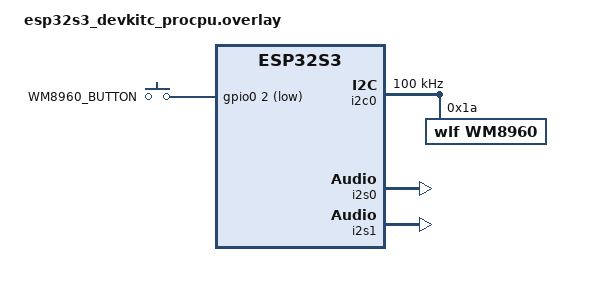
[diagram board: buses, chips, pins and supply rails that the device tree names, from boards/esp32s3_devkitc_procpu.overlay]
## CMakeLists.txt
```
cmake_minimum_required(VERSION 3.20.0)

find_package(Zephyr)
project(my_zephyr_app)

target_include_directories(app PRIVATE include)

target_sources(app PRIVATE 
                src/main.c
                src/wm8960.c
                src/audio.c
                src/network.c)
```

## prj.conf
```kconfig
# logging
CONFIG_LOG=y
CONFIG_LOG_DEFAULT_LEVEL=3
CONFIG_PRINTK=y

# drivers
CONFIG_I2C=y
CONFIG_I2S=y
CONFIG_DMA=y
CONFIG_GPIO=y

# Wi-Fi Configuration
CONFIG_WIFI=y

# Network Configuration
CONFIG_NET_CONFIG_AUTO_INIT=n
CONFIG_NET_CONNECTION_MANAGER=y
CONFIG_NET_DHCPV4=y
CONFIG_NET_DHCPV4_SERVER=y
CONFIG_NET_IF_MAX_IPV4_COUNT=2
CONFIG_NET_IF_MAX_IPV6_COUNT=2
CONFIG_NET_IPV4=y
CONFIG_NET_L2_ETHERNET=y
CONFIG_NET_L2_WIFI_MGMT=y
CONFIG_NET_MGMT=y
CONFIG_NET_MGMT_EVENT=y
CONFIG_NET_MGMT_EVENT_INFO=y
CONFIG_NET_MGMT_EVENT_QUEUE_SIZE=10
CONFIG_NET_MGMT_EVENT_STACK_SIZE=4096
CONFIG_NET_PKT_RX_COUNT=16
CONFIG_NET_PKT_TX_COUNT=16
CONFIG_NET_SOCKETS_SERVICE_STACK_SIZE=4096
CONFIG_NET_TCP=y
CONFIG_NET_UDP=y
CONFIG_NETWORKING=y

# LOG Configuration
CONFIG_NET_LOG=y
CONFIG_NET_DHCPV4_SERVER_LOG_LEVEL_DBG=y
```

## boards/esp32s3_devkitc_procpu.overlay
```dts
#include <dt-bindings/pinctrl/esp32s3-pinctrl.h>

&pinctrl {
    i2c0_audio: i2c0_audio {
        group1 {
            pinmux = <I2C0_SDA_GPIO41>,
                     <I2C0_SCL_GPIO40>;
            bias-pull-up;
            drive-open-drain;
            output-high;
        };
    };

    /* I2S0 = TX + clocks */
    i2s0_audio: i2s0_audio {
        group1 {
            pinmux = <I2S0_MCLK_GPIO42>,
                     <I2S0_O_WS_GPIO36>,
                     <I2S0_O_BCK_GPIO37>,
                     <I2S0_O_SD_GPIO38>;
        };
    };

    /* I2S1 = RX (share WS/BCK wires, but as INPUTS) */
    i2s1_audio: i2s1_audio {
        group1 {
            /* These macros must exist in esp32s3-pinctrl.h */
            pinmux = <I2S1_I_WS_GPIO36>,
                     <I2S1_I_BCK_GPIO37>,
                     <I2S1_I_SD_GPIO39>;
        };
    };
};

/ {
    aliases {
        audio0  = &wm8960;

        /* Add these so your C code can do DT_ALIAS(i2s-tx) / DT_ALIAS(i2s-rx) */
        i2s-tx = &i2s0;
        i2s-rx = &i2s1;
    };

    buttons {
        compatible = "gpio-keys";
        user_button: user_button {
            gpios = <&gpio0 2 (GPIO_PULL_UP | GPIO_ACTIVE_LOW)>;
            label = "WM8960_BUTTON";
        };
    };
};

&i2c0 {
    status = "okay";
    clock-frequency = <I2C_BITRATE_STANDARD>;
    pinctrl-0 = <&i2c0_audio>;
    pinctrl-names = "default";

    wm8960: wm8960@1a {
        compatible = "wlf,wm8960";
        reg = <0x1a>;
        label = "WM8960";
        status = "okay";
    };
};

/* TX controller */
&i2s0 {
    status = "okay";
    pinctrl-0 = <&i2s0_audio>;
    pinctrl-names = "default";
};

/* RX controller */
&i2s1 {
    status = "okay";
    pinctrl-0 = <&i2s1_audio>;
    pinctrl-names = "default";
};

/* Turn on GDMA (for I2S DMA) */
&dma {
    status = "okay";
};
```

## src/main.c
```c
#include <zephyr/kernel.h>
#include <zephyr/device.h>
#include <zephyr/drivers/i2c.h>
#include <zephyr/drivers/i2s.h>
#include <zephyr/sys/printk.h>

#include <audio.h>
#include <wm8960.h>
#include <network.h>

#define WM8960_NODE DT_ALIAS(audio0)
#define I2S_TX_NODE DT_ALIAS(i2s_tx)
#define I2S_RX_NODE DT_ALIAS(i2s_rx)

static const struct i2c_dt_spec codec_i2c = I2C_DT_SPEC_GET(WM8960_NODE);
static const struct device *i2s_tx = DEVICE_DT_GET(I2S_TX_NODE);
static const struct device *i2s_rx = DEVICE_DT_GET(I2S_RX_NODE);

int main(void)
{
    int ret;

    if (!device_is_ready(codec_i2c.bus)) {
        printk("I2C bus not ready\n");
        return -1;
    }
    if (!device_is_ready(i2s_tx) || !device_is_ready(i2s_rx)) {
        printk("I2S tx/rx not ready\n");
        return -1;
    }

    wifi_init();

    ret = wifi_connect();
    if (ret) {
        printk("WiFi connect failed: %d\n", ret);
        return ret;
    }

    ret = udp_init();
    if (ret) {
        printk("UDP init failed: %d\n", ret);
        return ret;
    }

    ret = wm8960_init(&codec_i2c);
    if (ret) {
        printk("wm8960_init failed: %d\n", ret);
        return ret;
    }

    /* Pick your initial output here */
    ret = wm8960_enable_speakers(&codec_i2c);
    if (ret) {
        printk("enable speakers failed: %d\n", ret);
        return ret;
    }

    ret = wm8960_enable_microphones(&codec_i2c,
                    2,      /* micboost: 0..3 */
                    40,     /* pga_vol: 0..63 */
                    195);   /* adc_dvol: 0..255, 195 ≈ 0 dB */

    if (ret) {
        printk("enable microphones failed: %d\n", ret);
        return ret;
    }
    
    struct i2s_config i2s_cfg = {
        .word_size = SAMPLE_BIT_WIDTH,
        .channels = NUMBER_OF_CHANNELS,
        .format = I2S_FMT_DATA_FORMAT_I2S | I2S_FMT_BIT_CLK_INV,
        .options = I2S_OPT_FRAME_CLK_MASTER | I2S_OPT_BIT_CLK_MASTER,
        .frame_clk_freq = SAMPLE_FREQUENCY,
        .mem_slab = NULL, // Will be set in audio.c
        .block_size = BLOCK_SIZE,
        .timeout = TIMEOUT,
    };

    start_audio_thread(i2s_tx, i2s_rx, &i2s_cfg, &i2s_cfg);

    /* Nothing else to do; audio thread runs forever */
    while (1) {
        k_sleep(K_FOREVER);
    }
}
```

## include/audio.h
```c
#pragma once
#include <zephyr/device.h>
#include <zephyr/drivers/i2c.h>
#include <zephyr/drivers/i2s.h>

#define SAMPLE_FREQUENCY    48000
#define SAMPLE_BIT_WIDTH    16
#define BYTES_PER_SAMPLE    (SAMPLE_BIT_WIDTH / 8)
#define NUMBER_OF_CHANNELS  2
#define SAMPLES_PER_BLOCK   (SAMPLE_FREQUENCY / 100)  // 10ms blocks
#define INITIAL_BLOCKS      2
#define TIMEOUT             1000
#define BLOCK_SIZE  (BYTES_PER_SAMPLE * SAMPLES_PER_BLOCK * NUMBER_OF_CHANNELS)
#define BLOCK_COUNT (INITIAL_BLOCKS + 4)
#define AUDIO_THREAD_STACK_SIZE 2048
#define AUDIO_THREAD_PRIORITY 5

int audio_init(const struct device *i2s_tx,
               const struct device *i2s_rx,
               const struct i2s_config *config_tx,
               const struct i2s_config *config_rx
           );

int audio_prepare(const struct device *i2s_tx);

int audio_start(const struct device *i2s_tx,
                const struct device *i2s_rx);

int audio_stop( const struct device *i2s_tx,
                const struct device *i2s_rx);

void start_audio_thread(const struct device *i2s_tx,
                        const struct device *i2s_rx,
                        const struct i2s_config *config_tx,
                        const struct i2s_config *config_rx);
```

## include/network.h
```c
#pragma once

#include <zephyr/kernel.h>
#include <zephyr/sys/printk.h>

#include <zephyr/net/socket.h>   // sockaddr, net_sa_family_t, inet_pton, etc.
#include <zephyr/net/net_if.h>
#include <zephyr/net/net_mgmt.h>
#include <zephyr/net/wifi_mgmt.h>
#include <zephyr/net/net_event.h>
#include <zephyr/net/net_compat.h>

#include <string.h>
#define WIFI_SSID "YourSSID"
#define WIFI_PASSWORD "YourPassword"
#define MY_PORT 0
#define PC_PORT 5000
#define PC_IP "192.168.1.100"

int wifi_connect(void);

int wifi_disconnect(void);

void wifi_init(void);

int udp_init(void);

int udp_send(const void *data, size_t len);
```

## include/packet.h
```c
#pragma once
#include <stdint.h>

#define AUDIO_MAGIC   0xA0D1
#define AUDIO_VERSION 1

/* 10 ms @ 48 kHz mono => 480 samples */
#define AUDIO_SAMPLES_PER_FRAME 480

typedef struct {
    uint16_t magic;        // = AUDIO_MAGIC
    uint8_t  version;      // = AUDIO_VERSION
    uint8_t  channels;     // 1 for now
    uint16_t sample_rate;  // 48000
    uint16_t frame_id;     // increments each packet
    int16_t  pcm[AUDIO_SAMPLES_PER_FRAME]; // mono PCM16
}__attribute__((packed)) audio_pkt_t;

typedef struct {
    uint8_t version:2;
    uint8_t padding:1;
    uint8_t extension:1;
    uint8_t csrc_count:4;
    uint8_t marker:1;
    uint8_t payload_type:7;
    uint16_t sequence_number;
    uint32_t timestamp;
    uint32_t ssrc;
}__attribute__((packed))rtp_t;
```

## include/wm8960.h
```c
#pragma once
#include <stdint.h>

// WM8960 register addresses
#define WM8960_REG_LEFT_INPUT_VOLUME 0x00
#define WM8960_REG_RIGHT_INPUT_VOLUME 0x01
#define WM8960_REG_LOUT1_VOLUME 0x02
#define WM8960_REG_ROUT1_VOLUME 0x03
#define WM8960_REG_CLOCKING_1 0x04
#define WM8960_REG_ADC_DAC_CTRL_1 0x05
#define WM8960_REG_ADC_DAC_CTRL_2 0x06
#define WM8960_REG_AUDIO_INTERFACE_1 0x07
#define WM8960_REG_CLOCKING_2 0x08
#define WM8960_REG_AUDIO_INTERFACE_2 0x09
#define WM8960_REG_LEFT_DAC_VOLUME 0x0A
#define WM8960_REG_RIGHT_DAC_VOLUME 0x0B
#define WM8960_REG_RESET 0x0F
#define WM8960_REG_3D_CONTROL 0x10
#define WM8960_REG_ALC1 0x11
#define WM8960_REG_ALC2 0x12
#define WM8960_REG_ALC3 0x13
#define WM8960_REG_NOISE_GATE 0x14
#define WM8960_REG_LEFT_ADC_VOLUME 0x15
#define WM8960_REG_RIGHT_ADC_VOLUME 0x16
#define WM8960_REG_ADDITIONAL_CONTROL_1 0x17
#define WM8960_REG_ADDITIONAL_CONTROL_2 0x18
#define WM8960_REG_PWR_MGMT_1 0x19
#define WM8960_REG_PWR_MGMT_2 0x1A
#define WM8960_REG_ADDITIONAL_CONTROL_3 0x1B
#define WM8960_REG_ANTI_POP_1 0x1C
#define WM8960_REG_ANTI_POP_2 0x1D
#define WM8960_REG_ADCL_SIGNAL_PATH 0x20
#define WM8960_REG_ADCR_SIGNAL_PATH 0x21
#define WM8960_REG_LEFT_OUT_MIX_1 0x22
#define WM8960_REG_RIGHT_OUT_MIX_2 0x25
#define WM8960_REG_MONO_OUT_MIX_1 0x26
#define WM8960_REG_MONO_OUT_MIX_2 0x27
#define WM8960_REG_LOUT2_VOLUME 0x28
#define WM8960_REG_ROUT2_VOLUME 0x29
#define WM8960_REG_MONO_OUT_VOLUME 0x2A
#define WM8960_REG_INPUT_BOOST_MIXER_1 0x2B
#define WM8960_REG_INPUT_BOOST_MIXER_2 0x2C
#define WM8960_REG_BYPASS_1 0x2D
#define WM8960_REG_BYPASS_2 0x2E
#define WM8960_REG_PWR_MGMT_3 0x2F
#define WM8960_REG_ADDITIONAL_CONTROL_4 0x30
#define WM8960_REG_CLASS_D_CONTROL_1 0x31
#define WM8960_REG_CLASS_D_CONTROL_3 0x33
#define WM8960_REG_PLL_N 0x34
#define WM8960_REG_PLL_K_1 0x35
#define WM8960_REG_PLL_K_2 0x36
#define WM8960_REG_PLL_K_3 0x37

// PGA input selections
#define WM8960_PGAL_LINPUT2 0
#define WM8960_PGAL_LINPUT3 1
#define WM8960_PGAL_VMID 2
#define WM8960_PGAR_RINPUT2 0
#define WM8960_PGAR_RINPUT3 1
#define WM8960_PGAR_VMID 2

// Mic (aka PGA) BOOST gain options
#define WM8960_MIC_BOOST_GAIN_0DB 0
#define WM8960_MIC_BOOST_GAIN_13DB 1
#define WM8960_MIC_BOOST_GAIN_20DB 2
#define WM8960_MIC_BOOST_GAIN_29DB 3

// Boost Mixer gain options
// These are used to control the gain (aka volume) at the following settings:
// LIN2BOOST
// LIN3BOOST
// RIN2BOOST
// RIN3BOOST
#define WM8960_BOOST_MIXER_GAIN_MUTE 0
#define WM8960_BOOST_MIXER_GAIN_NEG_12DB 1
#define WM8960_BOOST_MIXER_GAIN_NEG_9DB 2
#define WM8960_BOOST_MIXER_GAIN_NEG_6DB 3
#define WM8960_BOOST_MIXER_GAIN_NEG_3DB 4
#define WM8960_BOOST_MIXER_GAIN_0DB 5
#define WM8960_BOOST_MIXER_GAIN_3DB 6
#define WM8960_BOOST_MIXER_GAIN_6DB 7

// Output Mixer gain options
// These are used to control the gain (aka volume) at the following settings:
// LI2LOVOL
// LB2LOVOL
// RI2LOVOL
// RB2LOVOL
// These are useful as analog bypass signal path options.
#define WM8960_OUTPUT_MIXER_GAIN_0DB 0
#define WM8960_OUTPUT_MIXER_GAIN_NEG_3DB 1
#define WM8960_OUTPUT_MIXER_GAIN_NEG_6DB 2
#define WM8960_OUTPUT_MIXER_GAIN_NEG_9DB 3
#define WM8960_OUTPUT_MIXER_GAIN_NEG_12DB 4
#define WM8960_OUTPUT_MIXER_GAIN_NEG_15DB 5
#define WM8960_OUTPUT_MIXER_GAIN_NEG_18DB 6
#define WM8960_OUTPUT_MIXER_GAIN_NEG_21DB 7

// Mic Bias voltage options
#define WM8960_MIC_BIAS_VOLTAGE_0_9_AVDD 0
#define WM8960_MIC_BIAS_VOLTAGE_0_65_AVDD 1

// SYSCLK divide
#define WM8960_SYSCLK_DIV_BY_1 0
#define WM8960_SYSCLK_DIV_BY_2 2
#define WM8960_CLKSEL_MCLK 0
#define WM8960_CLKSEL_PLL 1
#define WM8960_PLL_MODE_INTEGER 0
#define WM8960_PLL_MODE_FRACTIONAL 1
#define WM8960_PLLPRESCALE_DIV_1 0
#define WM8960_PLLPRESCALE_DIV_2 1

// Class d clock divide
#define WM8960_DCLKDIV_16 7

// Word length settings (aka bits per sample)
// Audio Data Word Length
#define WM8960_WL_16BIT 0
#define WM8960_WL_20BIT 1
#define WM8960_WL_24BIT 2
#define WM8960_WL_32BIT 3

// Additional Digital Audio Interface controls
// LRP (aka left-right-polarity)
// Right, left and I2S modes – LRCLK polarity 
// 0 = normal LRCLK polarity 
// 1 = inverted LRCLK polarity 
#define WM8960_LR_POLARITY_NORMAL 0
#define WM8960_LR_POLARITY_INVERT 1

// ALRSWAP (aka ADC left/right swap)
// Left/Right ADC channel swap
// 1 = Swap left and right ADC data in audio interface
// 0 = Output left and right data as normal 
#define WM8960_ALRSWAP_NORMAL 0
#define WM8960_ALRSWAP_SWAP 1

// Gain mins, maxes, offsets and step-sizes for all the amps within the codec.
#define WM8960_PGA_GAIN_MIN -17.25
#define WM8960_PGA_GAIN_MAX 30.00
#define WM8960_PGA_GAIN_OFFSET 17.25
#define WM8960_PGA_GAIN_STEPSIZE 0.75
#define WM8960_HP_GAIN_MIN -73.00
#define WM8960_HP_GAIN_MAX 6.00
#define WM8960_HP_GAIN_OFFSET 121.00
#define WM8960_HP_GAIN_STEPSIZE 1.00
#define WM8960_SPEAKER_GAIN_MIN -73.00
#define WM8960_SPEAKER_GAIN_MAX 6.00
#define WM8960_SPEAKER_GAIN_OFFSET 121.00
#define WM8960_SPEAKER_GAIN_STEPSIZE 1.00
#define WM8960_ADC_GAIN_MIN -97.00
#define WM8960_ADC_GAIN_MAX 30.00
#define WM8960_ADC_GAIN_OFFSET 97.50
#define WM8960_ADC_GAIN_STEPSIZE 0.50
#define WM8960_DAC_GAIN_MIN -97.00
#define WM8960_DAC_GAIN_MAX 30.00
#define WM8960_DAC_GAIN_OFFSET 97.50
#define WM8960_DAC_GAIN_STEPSIZE 0.50

// Automatic Level Control Modes
#define WM8960_ALC_MODE_OFF 0
#define WM8960_ALC_MODE_RIGHT_ONLY 1
#define WM8960_ALC_MODE_LEFT_ONLY 2
#define WM8960_ALC_MODE_STEREO 3

// Automatic Level Control Target Level dB
#define WM8960_ALC_TARGET_LEVEL_NEG_22_5DB 0
#define WM8960_ALC_TARGET_LEVEL_NEG_21DB 1
#define WM8960_ALC_TARGET_LEVEL_NEG_19_5DB 2
#define WM8960_ALC_TARGET_LEVEL_NEG_18DB 3
#define WM8960_ALC_TARGET_LEVEL_NEG_16_5DB 4
#define WM8960_ALC_TARGET_LEVEL_NEG_15DB 5
#define WM8960_ALC_TARGET_LEVEL_NEG_13_5DB 6
#define WM8960_ALC_TARGET_LEVEL_NEG_12DB 7
#define WM8960_ALC_TARGET_LEVEL_NEG_10_5DB 8
#define WM8960_ALC_TARGET_LEVEL_NEG_9DB 9
#define WM8960_ALC_TARGET_LEVEL_NEG_7_5DB 10
#define WM8960_ALC_TARGET_LEVEL_NEG_6DB 11
#define WM8960_ALC_TARGET_LEVEL_NEG_4_5DB 12
#define WM8960_ALC_TARGET_LEVEL_NEG_3DB 13
#define WM8960_ALC_TARGET_LEVEL_NEG_1_5DB 14

// Automatic Level Control Max Gain Level dB
#define WM8960_ALC_MAX_GAIN_LEVEL_NEG_12DB 0
#define WM8960_ALC_MAX_GAIN_LEVEL_NEG_6DB 1
#define WM8960_ALC_MAX_GAIN_LEVEL_0DB 2
#define WM8960_ALC_MAX_GAIN_LEVEL_6DB 3
#define WM8960_ALC_MAX_GAIN_LEVEL_12DB 4
#define WM8960_ALC_MAX_GAIN_LEVEL_18DB 5
#define WM8960_ALC_MAX_GAIN_LEVEL_24DB 6
#define WM8960_ALC_MAX_GAIN_LEVEL_30DB 7

// Automatic Level Control Min Gain Level dB
#define WM8960_ALC_MIN_GAIN_LEVEL_NEG_17_25DB 0
#define WM8960_ALC_MIN_GAIN_LEVEL_NEG_11_25DB 1
#define WM8960_ALC_MIN_GAIN_LEVEL_NEG_5_25DB 2
#define WM8960_ALC_MIN_GAIN_LEVEL_0_75DB 3
#define WM8960_ALC_MIN_GAIN_LEVEL_6_75DB 4
#define WM8960_ALC_MIN_GAIN_LEVEL_12_75DB 5
#define WM8960_ALC_MIN_GAIN_LEVEL_18_75DB 6
#define WM8960_ALC_MIN_GAIN_LEVEL_24_75DB 7

// Automatic Level Control Hold Time (MS and SEC)
#define WM8960_ALC_HOLD_TIME_0MS 0
#define WM8960_ALC_HOLD_TIME_3MS 1
#define WM8960_ALC_HOLD_TIME_5MS 2
#define WM8960_ALC_HOLD_TIME_11MS 3
#define WM8960_ALC_HOLD_TIME_21MS 4
#define WM8960_ALC_HOLD_TIME_43MS 5
#define WM8960_ALC_HOLD_TIME_85MS 6
#define WM8960_ALC_HOLD_TIME_170MS 7
#define WM8960_ALC_HOLD_TIME_341MS 8
#define WM8960_ALC_HOLD_TIME_682MS 9
#define WM8960_ALC_HOLD_TIME_1365MS 10
#define WM8960_ALC_HOLD_TIME_3SEC 11
#define WM8960_ALC_HOLD_TIME_5SEC 12
#define WM8960_ALC_HOLD_TIME_10SEC 13
#define WM8960_ALC_HOLD_TIME_23SEC 14
#define WM8960_ALC_HOLD_TIME_44SEC 15

// Automatic Level Control Decay Time (MS and SEC)
#define WM8960_ALC_DECAY_TIME_24MS 0
#define WM8960_ALC_DECAY_TIME_48MS 1
#define WM8960_ALC_DECAY_TIME_96MS 2
#define WM8960_ALC_DECAY_TIME_192MS 3
#define WM8960_ALC_DECAY_TIME_384MS 4
#define WM8960_ALC_DECAY_TIME_768MS 5
#define WM8960_ALC_DECAY_TIME_1536MS 6
#define WM8960_ALC_DECAY_TIME_3SEC 7
#define WM8960_ALC_DECAY_TIME_6SEC 8
#define WM8960_ALC_DECAY_TIME_12SEC 9
#define WM8960_ALC_DECAY_TIME_24SEC 10

// Automatic Level Control Attack Time (MS and SEC)
#define WM8960_ALC_ATTACK_TIME_6MS 0
#define WM8960_ALC_ATTACK_TIME_12MS 1
#define WM8960_ALC_ATTACK_TIME_24MS 2
#define WM8960_ALC_ATTACK_TIME_482MS 3
#define WM8960_ALC_ATTACK_TIME_964MS 4
#define WM8960_ALC_ATTACK_TIME_1928MS 5
#define WM8960_ALC_ATTACK_TIME_3846MS 6
#define WM8960_ALC_ATTACK_TIME_768MS 7
#define WM8960_ALC_ATTACK_TIME_1536MS 8
#define WM8960_ALC_ATTACK_TIME_3SEC 9
#define WM8960_ALC_ATTACK_TIME_6SEC 10

// Speaker Boost Gains (DC and AC)
#define WM8960_SPEAKER_BOOST_GAIN_0DB 0
#define WM8960_SPEAKER_BOOST_GAIN_2_1DB 1
#define WM8960_SPEAKER_BOOST_GAIN_2_9DB 2
#define WM8960_SPEAKER_BOOST_GAIN_3_6DB 3
#define WM8960_SPEAKER_BOOST_GAIN_4_5DB 4
#define WM8960_SPEAKER_BOOST_GAIN_5_1DB 5

// VMIDSEL settings
#define WM8960_VMIDSEL_DISABLED 0
#define WM8960_VMIDSEL_2X50KOHM 1
#define WM8960_VMIDSEL_2X250KOHM 2
#define WM8960_VMIDSEL_2X5KOHM 3

// VREF to Analogue Output Resistance
// (Disabled Outputs)
// 0 = 500 VMID to output
// 1 = 20k VMID to output 
#define WM8960_VROI_500 0
#define WM8960_VROI_20K 1

// Analogue Bias Optimisation
// 00 = Reserved
// 01 = Increased bias current optimized for
// AVDD=2.7V
// 1X = Lowest bias current, optimized for
// AVDD=3.3V 

#define WM8960_VSEL_INCREASED_BIAS_CURRENT 1
#define WM8960_VSEL_LOWEST_BIAS_CURRENT 3

// JACK DETECT INPUT
#define WM8960_JACKDETECT_GPIO1 0
#define WM8960_JACKDETECT_LINPUT3 1
#define WM8960_JACKDETECT_RINPUT3 2

extern const uint16_t _registerDefaults[56] ;
extern uint16_t _registerLocalCopy[56] ;

int wm8960_write_register(const struct i2c_dt_spec *i2c, uint8_t reg, uint16_t val);
int wm8960_write_register_bit(const struct i2c_dt_spec *i2c_dev, uint8_t reg, uint8_t bit_pos, uint8_t bit_val);
int wm8960_write_register_multi_bits(const struct i2c_dt_spec *i2c_dev, uint8_t reg, uint8_t bit_pos, uint8_t bit_len, uint16_t value);
int wm8960_reset(const struct i2c_dt_spec *i2c_dev);
int wm8960_setup(const struct i2c_dt_spec *i2c_dev);
int wm8960_enable_speakers(const struct i2c_dt_spec *i2c);
int wm8960_enable_headphones(const struct i2c_dt_spec *i2c);
int wm8960_enable_microphones(const struct i2c_dt_spec *i2c_dev, uint8_t micboost /* 0..3 */, uint8_t pga_vol  /* 0..63 */, uint8_t adc_dvol /* 0..255, 195 = 0dB */);
int wm8960_init(const struct i2c_dt_spec *codec_i2c);
```

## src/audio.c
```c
#include <string.h>
#include <stdint.h>

#include <zephyr/kernel.h>
#include <zephyr/sys/printk.h>
#include <zephyr/drivers/i2s.h>
#include <zephyr/drivers/i2c.h>
#include <zephyr/sys/atomic.h>

#include <audio.h>
#include <wm8960.h>
#include <network.h>
#include <packet.h>

K_MEM_SLAB_DEFINE_STATIC(tx_mem_slab,BLOCK_SIZE,BLOCK_COUNT,4);
K_MEM_SLAB_DEFINE_STATIC(rx_mem_slab,BLOCK_SIZE,BLOCK_COUNT,4);

K_THREAD_STACK_DEFINE(audio_thread_stack, AUDIO_THREAD_STACK_SIZE);
struct k_thread audio_thread_data;

static const struct device *i2s_tx_device;
static const struct device *i2s_rx_device;

int audio_prepare(const struct device *i2s_tx)
{
    void *block;
    int ret;

    for (int i = 0; i < INITIAL_BLOCKS; i++) {
        ret = k_mem_slab_alloc(&tx_mem_slab, &block, K_NO_WAIT);
        if (ret < 0) {
            printk("Failed to allocate TX block: %d\n", ret);
            return ret;
        }

        // Fill block with audio data (e.g., from a buffer or generate silence)
        memset(block, 0, BLOCK_SIZE); // Example: fill with silence

        ret = i2s_write(i2s_tx, block, BLOCK_SIZE);
        if (ret < 0) {
            printk("Failed to queue TX block: %d\n", ret);
            k_mem_slab_free(&tx_mem_slab, block);
            return ret;
        }
    }
    return 0;
}

int audio_init( const struct device *i2s_tx,
                const struct device *i2s_rx,
                const struct i2s_config *config_tx,
                const struct i2s_config *config_rx
            )
{
    int ret;
    
    // Configure i2s devices for RX and TX
    ret = i2s_configure(i2s_rx, I2S_DIR_RX, config_rx);
	if (ret < 0) {
		printk("Failed to configure RX stream: %d\n", ret);
		return ret;
	}

	ret = i2s_configure(i2s_tx, I2S_DIR_TX, config_tx);
	if (ret < 0) {
		printk("Failed to configure TX stream: %d\n", ret);
		return ret;
	}

    ret = audio_prepare(i2s_tx);
    if (ret < 0) {
        return ret;
    }

    return 0;
}

int audio_start(const struct device *i2s_tx,
                const struct device *i2s_rx)
{   
    int ret;

    ret = i2s_trigger(i2s_rx, I2S_DIR_RX, I2S_TRIGGER_START);
    if (ret < 0) {
        printk("Failed to start RX stream: %d\n", ret);
        return ret;
    }

    ret = i2s_trigger(i2s_tx, I2S_DIR_TX, I2S_TRIGGER_START);
    if (ret < 0) {
        printk("Failed to start TX stream: %d\n", ret);
        return ret;
    }
    return 0;
}

int audio_stop( const struct device *i2s_tx,
                const struct device *i2s_rx)
{
    int ret;

    ret = i2s_trigger(i2s_tx, I2S_DIR_TX, I2S_TRIGGER_DROP);
    if (ret < 0) {
        printk("Failed to stop TX stream: %d\n", ret);
        return ret;
    }
    ret = i2s_trigger(i2s_rx, I2S_DIR_RX, I2S_TRIGGER_DROP);
    if (ret < 0) {
        printk("Failed to stop RX stream: %d\n", ret);
        return ret;
    }
    return 0;
}

static void audio_loopback(void){
    int ret;
    while(1){
        /***************** RX PROCESS *****************/
        void *rx_block;
        size_t rx_size;

        // Read audio data from RX into rx memory block
        ret = i2s_read(i2s_rx_device, &rx_block, &rx_size);
        if (ret < 0) {
            printk("Failed to read RX block: %d\n", ret);
            continue;
        }

        if (rx_block == NULL || rx_size == 0) {
            if(rx_block != NULL) {
                k_mem_slab_free(&rx_mem_slab, rx_block);
            }
            continue;
        }

        /***************** TX PROCESS *****************/
        // Prepare TX block
        void *tx_block;
        ret = k_mem_slab_alloc(&tx_mem_slab, &tx_block, K_FOREVER);
        if (ret < 0) {
            printk("Failed to allocate TX block: %d\n", ret);
            k_mem_slab_free(&rx_mem_slab, rx_block); // Free RX block if TX allocation fails
            continue;
        }

        // For loopback demonstration, simply copy RX data to TX block
        size_t block_size = rx_size < BLOCK_SIZE ? rx_size : BLOCK_SIZE;
        memcpy(tx_block, rx_block, block_size);

        // Free RX block back to slab
        k_mem_slab_free(&rx_mem_slab, rx_block);

        // Queue TX block for transmission
        ret = i2s_write(i2s_tx_device, tx_block, BLOCK_SIZE);
        if (ret < 0) {
            printk("Failed to queue TX block: %d\n", ret);
            k_mem_slab_free(&tx_mem_slab, tx_block);
            continue;
        }
    }
}

static void audio_stream(void){
    int ret;
    static uint16_t frame_id = 0;
    while(1){
        void *rx_block;
        size_t rx_size;

        // Read audio data from RX into rx memory block
        ret = i2s_read(i2s_rx_device, &rx_block, &rx_size);
        if (ret < 0) {
            printk("Failed to read RX block: %d\n", ret);
            continue;
        }

        if (rx_block == NULL || rx_size == 0) {
            if(rx_block != NULL) {
                k_mem_slab_free(&rx_mem_slab, rx_block);
            }
            continue;
        }

        // Send received audio data over UDP
        audio_pkt_t pkt;
        pkt.magic = AUDIO_MAGIC;
        pkt.version = AUDIO_VERSION;
        pkt.channels = 1; // Mono for now
        pkt.sample_rate = SAMPLE_FREQUENCY;
        pkt.frame_id = frame_id++;

        int16_t *pcm_data = (int16_t *)rx_block;
        for (int i = 0; i < AUDIO_SAMPLES_PER_FRAME; i++)
        {
            pkt.pcm[i] = pcm_data[i * NUMBER_OF_CHANNELS]; // Take only one channel
        }
        
        k_mem_slab_free(&rx_mem_slab, rx_block);

        ret = udp_send(&pkt, sizeof(pkt));;
        if (ret < 0) {
            printk("Failed to send UDP packet: %d\n", ret);
            continue;
        }
    }
}

static void audio_thread(void *a, void *b, void *c){
    audio_loopback();
}

void start_audio_thread(const struct device *i2s_tx,
                        const struct device *i2s_rx,
                        const struct i2s_config *config_tx,
                        const struct i2s_config *config_rx)
{
    i2s_tx_device = i2s_tx;
    i2s_rx_device = i2s_rx;
    static struct i2s_config tx_config;
    static struct i2s_config rx_config;

    tx_config = *config_tx;
    rx_config = *config_rx;

    tx_config.mem_slab = &tx_mem_slab;
    rx_config.mem_slab = &rx_mem_slab;

    int ret;

    ret = audio_init(i2s_tx, i2s_rx, &tx_config, &rx_config);
    if (ret < 0) {
        printk("Audio initialization failed: %d\n", ret);
        return;
    }

    ret = audio_start(i2s_tx, i2s_rx);
    if (ret < 0) {
        printk("Audio start failed: %d\n", ret);
        return;
    }

    k_thread_create(&audio_thread_data, audio_thread_stack,
                    K_THREAD_STACK_SIZEOF(audio_thread_stack),
                    audio_thread,
                    NULL, NULL, NULL,
                    AUDIO_THREAD_PRIORITY, 0, K_NO_WAIT);
}
```

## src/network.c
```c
#include "network.h"

#include <errno.h>
static int udp_socket = -1;
static struct sockaddr_in pc_addr;

static struct net_mgmt_event_callback wifi_cb;

int wifi_connect(void)
{
    struct net_if *iface = net_if_get_default();

    struct wifi_connect_req_params cnx_params = {
        .ssid = WIFI_SSID,
        .ssid_length = strlen(WIFI_SSID),
        .psk = WIFI_PASSWORD,
        .psk_length = strlen(WIFI_PASSWORD),
        .security = WIFI_SECURITY_TYPE_PSK,
        .channel = WIFI_CHANNEL_ANY,
    };

    int ret = net_mgmt(NET_REQUEST_WIFI_CONNECT, iface,
                       &cnx_params, sizeof(cnx_params));
    if (ret) {
        printk("WiFi connect request failed: %d\n", ret);
        return ret;
    }

    printk("WiFi connection initiated\n");
    return 0;
}

static void wifi_event_handler(struct net_mgmt_event_callback *cb,
                               uint64_t mgmt_event,
                               struct net_if *iface)
{
    ARG_UNUSED(cb);
    ARG_UNUSED(iface);

    if (mgmt_event == NET_EVENT_WIFI_CONNECT_RESULT) {
        const struct wifi_status *status =
            (const struct wifi_status *)cb->info;

        if (status && status->status) {
            printk("WiFi connect failed: %d\n", status->status);
        } else {
            printk("WiFi connected\n");
        }

    } else if (mgmt_event == NET_EVENT_WIFI_DISCONNECT_RESULT) {
        printk("WiFi disconnected\n");

    } else if (mgmt_event == NET_EVENT_IPV4_ADDR_ADD) {
        printk("Got IPv4 address\n");
    }
}

void wifi_init(void)
{
    net_mgmt_init_event_callback(&wifi_cb, wifi_event_handler,
        NET_EVENT_WIFI_CONNECT_RESULT |
        NET_EVENT_WIFI_DISCONNECT_RESULT |
        NET_EVENT_IPV4_ADDR_ADD);

    net_mgmt_add_event_callback(&wifi_cb);
}

int wifi_disconnect(void)
{
    struct net_if *iface = net_if_get_default();

    int ret = net_mgmt(NET_REQUEST_WIFI_DISCONNECT, iface, NULL, 0);
    if (ret) {
        printk("WiFi disconnect request failed: %d\n", ret);
        return ret;
    }

    printk("WiFi disconnection initiated\n");
    return 0;
}

int udp_init(void)
{
    if (udp_socket >= 0) {
        zsock_close(udp_socket);
        udp_socket = -1;
    }

    udp_socket = zsock_socket(AF_INET, SOCK_DGRAM, IPPROTO_UDP);
    if (udp_socket < 0) {
        printk("zsock_socket failed: errno=%d\n", errno);
        return -errno;
    }

    memset(&pc_addr, 0, sizeof(pc_addr));
    pc_addr.sin_family = AF_INET;
    pc_addr.sin_port = htons(PC_PORT);

    int ret = zsock_inet_pton(AF_INET, PC_IP, &pc_addr.sin_addr);
    if (ret != 1) {
        printk("zsock_inet_pton failed: errno=%d\n", errno);
        zsock_close(udp_socket);
        udp_socket = -1;
        return -EINVAL;
    }

    ret = zsock_connect(udp_socket, (struct sockaddr *)&pc_addr, sizeof(pc_addr));
    if (ret < 0) {
        printk("zsock_connect failed: errno=%d\n", errno);
        zsock_close(udp_socket);
        udp_socket = -1;
        return -errno;
    }

    printk("UDP connected to %s:%d\n", PC_IP, PC_PORT);
    return 0;
}

int udp_send(const void *data, size_t len)
{
    if (udp_socket < 0) {
        return -ENOTCONN;
    }

    int ret = zsock_send(udp_socket, data, len, 0);
    if (ret < 0) {
        return -errno;
    }
    return ret;
}

int udp_receive(void *buffer, size_t len)
{
    if (udp_socket < 0) {
        return -ENOTCONN;
    }

    int ret = zsock_recv(udp_socket, buffer, len, 0);
    if (ret < 0) {
        return -errno;
    }
    return ret;
}
```

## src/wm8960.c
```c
#include <stdint.h>
#include <zephyr/kernel.h>
#include <zephyr/device.h>
#include <zephyr/drivers/i2c.h>
#include <zephyr/sys/printk.h>
#include <zephyr/drivers/gpio.h>
#include <wm8960.h>
#include <audio.h>

#define WM8960_BUTTON DT_NODELABEL(user_button)

uint16_t _registerLocalCopy[56] = 
{
    0x0097, // R0 (0x00)
    0x0097, // R1 (0x01)
    0x0000, // R2 (0x02)
    0x0000, // R3 (0x03)
    0x0000, // R4 (0x04)
    0x0008, // F5 (0x05)
    0x0000, // R6 (0x06)
    0x000A, // R7 (0x07)
    0x01C0, // R8 (0x08)
    0x0000, // R9 (0x09)
    0x00FF, // R10 (0x0a)
    0x00FF, // R11 (0x0b)
    0x0000, // R12 (0x0C) RESERVED
    0x0000, // R13 (0x0D) RESERVED
    0x0000, // R14 (0x0E) RESERVED
    0x0000, // R15 (0x0F) RESERVED
    0x0000, // R16 (0x10)
    0x007B, // R17 (0x11)
    0x0100, // R18 (0x12)
    0x0032, // R19 (0x13)
    0x0000, // R20 (0x14)
    0x00C3, // R21 (0x15)
    0x00C3, // R22 (0x16)
    0x01C0, // R23 (0x17)
    0x0000, // R24 (0x18)
    0x0000, // R25 (0x19)
    0x0000, // R26 (0x1A)
    0x0000, // R27 (0x1B)
    0x0000, // R28 (0x1C)
    0x0000, // R29 (0x1D)
    0x0000, // R30 (0x1E) RESERVED
    0x0000, // R31 (0x1F) RESERVED
    0x0100, // R32 (0x20)
    0x0100, // R33 (0x21)
    0x0050, // R34 (0x22)
    0x0000, // R35 (0x23) RESERVED
    0x0000, // R36 (0x24) RESERVED
    0x0050, // R37 (0x25)
    0x0000, // R38 (0x26)
    0x0000, // R39 (0x27)
    0x0000, // R40 (0x28)
    0x0000, // R41 (0x29)
    0x0040, // R42 (0x2A)
    0x0000, // R43 (0x2B)
    0x0000, // R44 (0x2C)
    0x0050, // R45 (0x2D)
    0x0050, // R46 (0x2E)
    0x0000, // R47 (0x2F)
    0x0002, // R48 (0x30)
    0x0037, // R49 (0x31)
    0x0000, // R50 (0x32) RESERVED
    0x0080, // R51 (0x33)
    0x0008, // R52 (0x34)
    0x0031, // R53 (0x35)
    0x0026, // R54 (0x36)
    0x00e9, // R55 (0x37)
};

const uint16_t _registerDefaults[56] = 
{
    0x0097, // R0 (0x00)
    0x0097, // R1 (0x01)
    0x0000, // R2 (0x02)
    0x0000, // R3 (0x03)
    0x0000, // R4 (0x04)
    0x0008, // F5 (0x05)
    0x0000, // R6 (0x06)
    0x000A, // R7 (0x07)
    0x01C0, // R8 (0x08)
    0x0000, // R9 (0x09)
    0x00FF, // R10 (0x0a)
    0x00FF, // R11 (0x0b)
    0x0000, // R12 (0x0C) RESERVED
    0x0000, // R13 (0x0D) RESERVED
    0x0000, // R14 (0x0E) RESERVED
    0x0000, // R15 (0x0F) RESERVED
    0x0000, // R16 (0x10)
    0x007B, // R17 (0x11)
    0x0100, // R18 (0x12)
    0x0032, // R19 (0x13)
    0x0000, // R20 (0x14)
    0x00C3, // R21 (0x15)
    0x00C3, // R22 (0x16)
    0x01C0, // R23 (0x17)
    0x0000, // R24 (0x18)
    0x0000, // R25 (0x19)
    0x0000, // R26 (0x1A)
    0x0000, // R27 (0x1B)
    0x0000, // R28 (0x1C)
    0x0000, // R29 (0x1D)
    0x0000, // R30 (0x1E) RESERVED
    0x0000, // R31 (0x1F) RESERVED
    0x0100, // R32 (0x20)
    0x0100, // R33 (0x21)
    0x0050, // R34 (0x22)
    0x0000, // R35 (0x23) RESERVED
    0x0000, // R36 (0x24) RESERVED
    0x0050, // R37 (0x25)
    0x0000, // R38 (0x26)
    0x0000, // R39 (0x27)
    0x0000, // R40 (0x28)
    0x0000, // R41 (0x29)
    0x0040, // R42 (0x2A)
    0x0000, // R43 (0x2B)
    0x0000, // R44 (0x2C)
    0x0050, // R45 (0x2D)
    0x0050, // R46 (0x2E)
    0x0000, // R47 (0x2F)
    0x0002, // R48 (0x30)
    0x0037, // R49 (0x31)
    0x0000, // R50 (0x32) RESERVED
    0x0080, // R51 (0x33)
    0x0008, // R52 (0x34)
    0x0031, // R53 (0x35)
    0x0026, // R54 (0x36)
    0x00e9, // R55 (0x37)
};

int wm8960_write_register(const struct i2c_dt_spec *i2c, uint8_t reg, uint16_t val)
{
    uint8_t buf[2];

    buf[0] = (reg << 1) | ((val >> 8) & 0x01);
    buf[1] = val & 0xFF;

    return i2c_write_dt(i2c, buf, sizeof(buf));
}

int wm8960_write_register_bit(const struct i2c_dt_spec *i2c_dev, uint8_t reg, uint8_t bit_pos, uint8_t bit_val) 
{
    uint16_t reg_val = _registerLocalCopy[reg];
    if (bit_val) {
        reg_val |= (1 << bit_pos);
    } else {
        reg_val &= ~(1 << bit_pos);
    }

    int ret = wm8960_write_register(i2c_dev, reg, reg_val);
    if (ret) {
        printk("Failed to write to WM8960 register 0x%02X\n", reg);
        return ret;
    } else {
        _registerLocalCopy[reg] = reg_val;
        return 0;
    }
    return 0;
}

int wm8960_write_register_multi_bits(const struct i2c_dt_spec *i2c_dev, uint8_t reg, uint8_t bit_pos, uint8_t bit_len, uint16_t value)
{
    uint16_t reg_val = _registerLocalCopy[reg];

    uint16_t mask = ((1U << bit_len) - 1U) << bit_pos;
    reg_val = (reg_val & ~mask) | ((value << bit_pos) & mask);

    int ret = wm8960_write_register(i2c_dev, reg, reg_val);
    if (!ret) {
        _registerLocalCopy[reg] = reg_val;
    } else {
        printk("WM8960 multi-bit write failed @ reg 0x%02X (ret=%d)\n", reg, ret);
    }

    return ret;
}

int wm8960_reset(const struct i2c_dt_spec *i2c_dev)
{
    int ret = wm8960_write_register(i2c_dev, WM8960_REG_RESET, 0x0001);
    if (ret) {
        printk("WM8960 reset I2C error: %d\n", ret);
        return ret;
    }

    /* Reset local mirror to defaults */
    for (int i = 0; i < 56; i++) {
        _registerLocalCopy[i] = _registerDefaults[i];
    }

    return 0;
}

int wm8960_setup(const struct i2c_dt_spec *i2c_dev)
{
    int ret;

    /* 1. Reset and basic power */
    ret = wm8960_reset(i2c_dev);
    if (ret) {
        printk("WM8960 reset failed\n");
        return ret;
    }

    /* enableVREF(): PWR_MGMT_1 bit 6 = 1 */
    ret = wm8960_write_register_bit(i2c_dev, WM8960_REG_PWR_MGMT_1, 6, 1);
    if (ret) return ret;

    /* setVMID(WM8960_VMIDSEL_2X50KOHM): bits [8:7] = 0b10 */
    ret = wm8960_write_register_multi_bits(i2c_dev,
                                           WM8960_REG_PWR_MGMT_1,
                                           7, 2, 0b10);
    if (ret) return ret;

    /* Small delay to let VMID cap charge */
    k_msleep(50);

    /* 2. Route DAC outputs to the output mixers */
    /* enableLD2LO(): LEFT_OUT_MIX_1 bit 8 */
    ret = wm8960_write_register_bit(i2c_dev, WM8960_REG_LEFT_OUT_MIX_1, 8, 1);
    if (ret) return ret;

    /* enableRD2RO(): RIGHT_OUT_MIX_2 bit 8 */
    ret = wm8960_write_register_bit(i2c_dev, WM8960_REG_RIGHT_OUT_MIX_2, 8, 1);
    if (ret) return ret;

    /* setLB2LOVOL(-21dB) and setRB2ROVOL(-21dB):
     * BYPASS_1/2 bits [6:4] = 7 (datasheet: 0 = 0dB ... 7 = -21dB)
     */
    ret = wm8960_write_register_multi_bits(i2c_dev,
                                           WM8960_REG_BYPASS_1,
                                           4, 3, 7);
    if (ret) return ret;

    ret = wm8960_write_register_multi_bits(i2c_dev,
                                           WM8960_REG_BYPASS_2,
                                           4, 3, 7);
    if (ret) return ret;

    /* enableLOMIX(): PWR_MGMT_3 bit 3 */
    ret = wm8960_write_register_bit(i2c_dev, WM8960_REG_PWR_MGMT_3, 3, 1);
    if (ret) return ret;

    /* enableROMIX(): PWR_MGMT_3 bit 2 */
    ret = wm8960_write_register_bit(i2c_dev, WM8960_REG_PWR_MGMT_3, 2, 1);
    if (ret) return ret;

    /* 3. PLL and clocking for 44.1 kHz, 16-bit, BCLK = 64fs, DCLK = 705.6 kHz */

    /* enablePLL(): PWR_MGMT_2 bit 0 = 1 */
    ret = wm8960_write_register_bit(i2c_dev, WM8960_REG_PWR_MGMT_2, 0, 1);
    if (ret) return ret;

    /* setPLLPRESCALE(DIV_2): PLL_N bit 4 = 1 */
    ret = wm8960_write_register_bit(i2c_dev, WM8960_REG_PLL_N, 4, 1);
    if (ret) return ret;

    /* setSMD(FRACTIONAL): PLL_N bit 5 = 1 */
    ret = wm8960_write_register_bit(i2c_dev, WM8960_REG_PLL_N, 5, 1);
    if (ret) return ret;

    /* setPLLN(7): PLL_N bits [3:0] = 0b0111 */
    ret = wm8960_write_register_multi_bits(i2c_dev,
                                           WM8960_REG_PLL_N,
                                           0, 4, 7);
    if (ret) return ret;

    /* setPLLK(0x86, 0xC2, 0x26): PLLK = 0x86C226
     * K1: bits [5:0] of upper byte
     * K2: bits [8:0] mid
     * K3: bits [8:0] low
     * The SparkFun lib just writes the 8-bit values into these fields,
     * so we mirror that.
     */
    ret = wm8960_write_register_multi_bits(i2c_dev,
                                           WM8960_REG_PLL_K_1,
                                           0, 6, 0x86);
    if (ret) return ret;

    ret = wm8960_write_register_multi_bits(i2c_dev,
                                           WM8960_REG_PLL_K_2,
                                           0, 9, 0xC2);
    if (ret) return ret;

    ret = wm8960_write_register_multi_bits(i2c_dev,
                                           WM8960_REG_PLL_K_3,
                                           0, 9, 0x26);
    if (ret) return ret;

    /* setCLKSEL(PLL): CLOCKING_1 bit 0 = 1 */
    ret = wm8960_write_register_bit(i2c_dev, WM8960_REG_CLOCKING_1, 0, 1);
    if (ret) return ret;

    /* setSYSCLKDIV(DIV_BY_2): CLOCKING_1 bits [2:1] = 0b10 */
    ret = wm8960_write_register_multi_bits(i2c_dev,
                                           WM8960_REG_CLOCKING_1,
                                           1, 2, 0b10);
    if (ret) return ret;

    /* setADCDIV(0) and setDACDIV(0) are defaults, no need to touch. */

    /* setBCLKDIV(4): CLOCKING_2 bits [3:0] = 0b0100 */
    ret = wm8960_write_register_multi_bits(i2c_dev,
                                           WM8960_REG_CLOCKING_2,
                                           0, 4, 4);
    if (ret) return ret;

    /* setDCLKDIV(16): CLOCKING_2 bits [8:6] = 0b111 */
    ret = wm8960_write_register_multi_bits(i2c_dev,
                                           WM8960_REG_CLOCKING_2,
                                           6, 3, 0b111);
    if (ret) return ret;

    /* setWL(16BIT): AUDIO_INTERFACE_1 bits [3:2] = 0b00 */
    ret = wm8960_write_register_multi_bits(i2c_dev,
                                           WM8960_REG_AUDIO_INTERFACE_1,
                                           2, 2, 0b00);
    if (ret) return ret;

    /* enablePeripheralMode(): AUDIO_INTERFACE_1 bit 6 = 0
     * (default is 0, but make it explicit)
     */
    ret = wm8960_write_register_bit(i2c_dev, WM8960_REG_AUDIO_INTERFACE_1, 6, 0);
    if (ret) return ret;

    /* 4. Enable DACs, unmute, and bring up headphones */

    /* enableDacLeft(): PWR_MGMT_2 bit 8 */
    ret = wm8960_write_register_bit(i2c_dev, WM8960_REG_PWR_MGMT_2, 8, 1);
    if (ret) return ret;

    /* enableDacRight(): PWR_MGMT_2 bit 7 */
    ret = wm8960_write_register_bit(i2c_dev, WM8960_REG_PWR_MGMT_2, 7, 1);
    if (ret) return ret;

    /* disableLoopBack(): AUDIO_INTERFACE_2 bit 0 = 0 (already default) */
    ret = wm8960_write_register_bit(i2c_dev, WM8960_REG_AUDIO_INTERFACE_2, 0, 0);
    if (ret) return ret;

    /* disableDacMute(): ADC_DAC_CTRL_1 bit 3 = 0 */
    ret = wm8960_write_register_bit(i2c_dev, WM8960_REG_ADC_DAC_CTRL_1, 3, 0);
    if (ret) return ret;

    /* enableHeadphones(): PWR_MGMT_2 bits [6] & [5] */
    ret = wm8960_write_register_bit(i2c_dev, WM8960_REG_PWR_MGMT_2, 6, 1); /* LOUT1 */
    if (ret) return ret;

    ret = wm8960_write_register_bit(i2c_dev, WM8960_REG_PWR_MGMT_2, 5, 1); /* ROUT1 */
    if (ret) return ret;

    /* enableOUT3MIX(): PWR_MGMT_2 bit 1 (VMID buffer for HP ground) */
    ret = wm8960_write_register_bit(i2c_dev, WM8960_REG_PWR_MGMT_2, 1, 1);
    if (ret) return ret;

    /* 5. Set headphone volume to ~0 dB
     *
     * From SparkFun comments: valid input 47–127
     * 48 = -73 dB, 127 = +6 dB, step 1 dB
     * So: dB = setting - 121  => setting = dB + 121
     * For 0 dB, setting = 121.
     * LOUT1/ROUT1_VOLUME: bits [6:0] = volume, bit 8 = OUT1VU (update)
     */
    uint8_t hp_vol = 121;

    ret = wm8960_write_register_multi_bits(i2c_dev,
                                           WM8960_REG_LOUT1_VOLUME,
                                           0, 7, hp_vol);
    if (ret) return ret;
    ret = wm8960_write_register_bit(i2c_dev,
                                    WM8960_REG_LOUT1_VOLUME,
                                    8, 1); /* OUT1VU */
    if (ret) return ret;

    ret = wm8960_write_register_multi_bits(i2c_dev,
                                           WM8960_REG_ROUT1_VOLUME,
                                           0, 7, hp_vol);
    if (ret) return ret;
    ret = wm8960_write_register_bit(i2c_dev,
                                    WM8960_REG_ROUT1_VOLUME,
                                    8, 1); /* OUT1VU */
    if (ret) return ret;
    return 0;
}

int wm8960_enable_headphones(const struct i2c_dt_spec *i2c)
{
    int ret;

    /* Mute DAC */
    ret = wm8960_write_register_bit(i2c, WM8960_REG_ADC_DAC_CTRL_1, 3, 1);
    if (ret) return ret;

    /* Disable speakers */
    wm8960_write_register_bit(i2c, WM8960_REG_CLASS_D_CONTROL_1, 7, 0);
    wm8960_write_register_bit(i2c, WM8960_REG_CLASS_D_CONTROL_1, 6, 0);
    wm8960_write_register_bit(i2c, WM8960_REG_PWR_MGMT_2, 3, 0);
    wm8960_write_register_bit(i2c, WM8960_REG_PWR_MGMT_2, 4, 0);

    /* Enable headphones */
    ret = wm8960_write_register_bit(i2c, WM8960_REG_PWR_MGMT_2, 6, 1);
    if (ret) return ret;

    ret = wm8960_write_register_bit(i2c, WM8960_REG_PWR_MGMT_2, 5, 1);
    if (ret) return ret;

    /* Enable OUT3MIX (VMID buffer for HP ground) */
    ret = wm8960_write_register_bit(i2c, WM8960_REG_PWR_MGMT_2, 1, 1);
    if (ret) return ret;

    /* Headphone volume (~ -10 dB) */
    ret = wm8960_write_register(i2c, WM8960_REG_LOUT1_VOLUME, 0x0179);
    if (ret) return ret;

    ret = wm8960_write_register(i2c, WM8960_REG_ROUT1_VOLUME, 0x0179);
    if (ret) return ret;

    /* Unmute DAC */
    ret = wm8960_write_register_bit(i2c, WM8960_REG_ADC_DAC_CTRL_1, 3, 0);
    if (ret) return ret;

    printk("Audio output: HEADPHONES\n");
    return 0;
}

int wm8960_enable_speakers(const struct i2c_dt_spec *i2c)
{
    int ret;

    /* Mute DAC */
    ret = wm8960_write_register_bit(i2c, WM8960_REG_ADC_DAC_CTRL_1, 3, 1);
    if (ret) return ret;

    /* Disable headphones */
    wm8960_write_register_bit(i2c, WM8960_REG_PWR_MGMT_2, 6, 0);
    wm8960_write_register_bit(i2c, WM8960_REG_PWR_MGMT_2, 5, 0);
    wm8960_write_register_bit(i2c, WM8960_REG_PWR_MGMT_2, 1, 0);

    /* Enable Class-D amps */
    ret = wm8960_write_register_bit(i2c, WM8960_REG_CLASS_D_CONTROL_1, 7, 1);
    if (ret) return ret;

    ret = wm8960_write_register_bit(i2c, WM8960_REG_CLASS_D_CONTROL_1, 6, 1);
    if (ret) return ret;

    ret = wm8960_write_register_bit(i2c, WM8960_REG_PWR_MGMT_2, 3, 1);
    if (ret) return ret;

    ret = wm8960_write_register_bit(i2c, WM8960_REG_PWR_MGMT_2, 4, 1);
    if (ret) return ret;

    /* Speaker volume (start low: ~ -20 dB) */
    ret = wm8960_write_register(i2c, WM8960_REG_LOUT2_VOLUME, 0x0160);
    if (ret) return ret;

    ret = wm8960_write_register(i2c, WM8960_REG_ROUT2_VOLUME, 0x0160);
    if (ret) return ret;

    /* Unmute DAC */
    ret = wm8960_write_register_bit(i2c, WM8960_REG_ADC_DAC_CTRL_1, 3, 0);
    if (ret) return ret;

    printk("Audio output: SPEAKERS\n");
    return 0;
}

int wm8960_enable_microphones(const struct i2c_dt_spec *i2c_dev,
                              uint8_t micboost /* 0..3 */,
                              uint8_t pga_vol  /* 0..63 */,
                              uint8_t adc_dvol /* 0..255, 195 = 0dB */)
{
    int ret;

    if (micboost > 3) micboost = 3;
    if (pga_vol > 63) pga_vol = 63;

    /* 1) Power up analog input stages + ADCs */
    ret = wm8960_write_register_bit(i2c_dev, WM8960_REG_PWR_MGMT_1, 5, 1); /* AINL */
    if (ret) return ret;
    
    ret = wm8960_write_register_bit(i2c_dev, WM8960_REG_PWR_MGMT_1, 4, 1); /* AINR */
    if (ret) return ret;

    ret = wm8960_write_register_bit(i2c_dev, WM8960_REG_PWR_MGMT_1, 3, 1); /* ADCL */
    if (ret) return ret;
    
    ret = wm8960_write_register_bit(i2c_dev, WM8960_REG_PWR_MGMT_1, 2, 1); /* ADCR */
    if (ret) return ret;

    ret = wm8960_write_register_bit(i2c_dev, WM8960_REG_PWR_MGMT_1, 1, 1); /* MICBIAS */
    if (ret) return ret;
    k_msleep(20);

    /*
     * 2) Input routing based on the HAT schematic:
     *    MIC_L -> LINPUT1, MIC_R -> RINPUT1
     *
     *    Use INPUT1 on the inverting PGA input (LMN1/RMN1),
     *    and set PGA non-inverting input to VMID (clear LMP2/LMP3, RMP2/RMP3).
     */

    /* ADCL signal path: clear LMP2/LMP3 => non-inv = VMID */
    ret = wm8960_write_register_bit(i2c_dev, WM8960_REG_ADCL_SIGNAL_PATH, 7, 0); /* LMP3 */
    if (ret) return ret;
    ret = wm8960_write_register_bit(i2c_dev, WM8960_REG_ADCL_SIGNAL_PATH, 6, 0); /* LMP2 */
    if (ret) return ret;

    /* ADCR signal path: clear RMP2/RMP3 => non-inv = VMID */
    ret = wm8960_write_register_bit(i2c_dev, WM8960_REG_ADCR_SIGNAL_PATH, 7, 0); /* RMP3 */
    if (ret) return ret;
    ret = wm8960_write_register_bit(i2c_dev, WM8960_REG_ADCR_SIGNAL_PATH, 6, 0); /* RMP2 */
    if (ret) return ret;

    /* Connect INPUT1 to PGA inverting input */
    ret = wm8960_write_register_bit(i2c_dev, WM8960_REG_ADCL_SIGNAL_PATH, 8, 1); /* LMN1 */
    if (ret) return ret;
    ret = wm8960_write_register_bit(i2c_dev, WM8960_REG_ADCR_SIGNAL_PATH, 8, 1); /* RMN1 */
    if (ret) return ret;

    /* Connect PGA output to boost mixer (so it can feed ADC path) */
    ret = wm8960_write_register_bit(i2c_dev, WM8960_REG_ADCL_SIGNAL_PATH, 3, 1); /* LMIC2B */
    if (ret) return ret;
    ret = wm8960_write_register_bit(i2c_dev, WM8960_REG_ADCR_SIGNAL_PATH, 3, 1); /* RMIC2B */
    if (ret) return ret;

    /* 3) Set mic boost (0..3) in ADCL/ADCR signal path bits [5:4] */
    ret = wm8960_write_register_multi_bits(i2c_dev, WM8960_REG_ADCL_SIGNAL_PATH, 4, 2, micboost);
    if (ret) return ret;
    ret = wm8960_write_register_multi_bits(i2c_dev, WM8960_REG_ADCR_SIGNAL_PATH, 4, 2, micboost);
    if (ret) return ret;

    /* 4) Set PGA volumes (LINVOL/RINVOL bits [5:0]) + “volume update” bits */
    ret = wm8960_write_register_multi_bits(i2c_dev, WM8960_REG_LEFT_INPUT_VOLUME, 0, 6, pga_vol);
    if (ret) return ret;
    ret = wm8960_write_register_bit(i2c_dev, WM8960_REG_LEFT_INPUT_VOLUME, 8, 1); /* IPVU */
    if (ret) return ret;

    ret = wm8960_write_register_multi_bits(i2c_dev, WM8960_REG_RIGHT_INPUT_VOLUME, 0, 6, pga_vol);
    if (ret) return ret;
    ret = wm8960_write_register_bit(i2c_dev, WM8960_REG_RIGHT_INPUT_VOLUME, 8, 1); /* IPVU */
    if (ret) return ret;

    /* 5) ADC digital volumes (0..255) + ADCVU bits */
    ret = wm8960_write_register_multi_bits(i2c_dev, WM8960_REG_LEFT_ADC_VOLUME, 0, 8, adc_dvol);
    if (ret) return ret;
    ret = wm8960_write_register_bit(i2c_dev, WM8960_REG_LEFT_ADC_VOLUME, 8, 1); /* ADCVU */
    if (ret) return ret;

    ret = wm8960_write_register_multi_bits(i2c_dev, WM8960_REG_RIGHT_ADC_VOLUME, 0, 8, adc_dvol);
    if (ret) return ret;
    ret = wm8960_write_register_bit(i2c_dev, WM8960_REG_RIGHT_ADC_VOLUME, 8, 1); /* ADCVU */
    if (ret) return ret;

    return 0;
}

static const struct gpio_dt_spec button =
    GPIO_DT_SPEC_GET(WM8960_BUTTON, gpios);

static struct gpio_callback button_cb_data;

static struct k_work_delayable btn_work;

static void btn_work_fn(struct k_work *work)
{
    
}

static void button_pressed(const struct device *dev,
                           struct gpio_callback *cb,
                           uint32_t pins)
{
    /* just debounce-schedule */
    k_work_reschedule(&btn_work, K_MSEC(30));
}

static int init_button(void)
{
    int ret;

    if (!device_is_ready(button.port)) {
        printk("Button port not ready\n");
        return -ENODEV;
    }

    ret = gpio_pin_configure_dt(&button, GPIO_INPUT | GPIO_PULL_UP);
    if (ret) return ret;

    ret = gpio_pin_interrupt_configure_dt(&button, GPIO_INT_EDGE_TO_ACTIVE);
    if (ret) return ret;

    gpio_init_callback(&button_cb_data, button_pressed, BIT(button.pin));
    gpio_add_callback(button.port, &button_cb_data);

    k_work_init_delayable(&btn_work, btn_work_fn);
    printk("Button configured on pin %d\n", button.pin);
    return 0;
}

/* ====== Codec public init ====== */
int wm8960_init(const struct i2c_dt_spec *codec_i2c)
{
    int ret;

    ret = init_button();
    if (ret) return ret;

    ret = wm8960_setup(codec_i2c);
    if (ret) {
        printk("WM8960 setup failed: %d\n", ret);
        return ret;
    }

    printk("WM8960 setup complete.\n");
    return 0;
}
```
